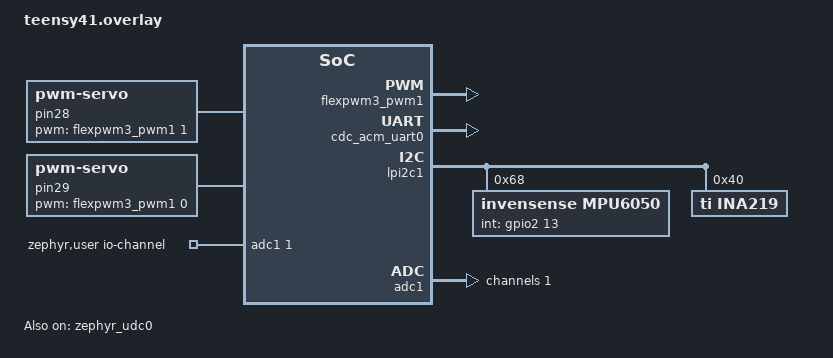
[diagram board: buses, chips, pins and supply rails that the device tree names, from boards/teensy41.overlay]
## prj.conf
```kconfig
CONFIG_PRINTK=y
CONFIG_HEAP_MEM_POOL_SIZE=256
CONFIG_ASSERT=y
CONFIG_GPIO=y

CONFIG_STDOUT_CONSOLE=y
CONFIG_PWM=y
CONFIG_ADC=y

## Sensor configs 
CONFIG_MPU6050=y
CONFIG_I2C=y
CONFIG_SENSOR=y
CONFIG_LOG=y

CONFIG_MPU6050_TRIGGER_NONE=y
CONFIG_CBPRINTF_FP_SUPPORT=y


CONFIG_USB_DEVICE_STACK=y
CONFIG_USB_DEVICE_PRODUCT="Zephyr USB console sample"
CONFIG_USB_DEVICE_PID=0x0004
CONFIG_USB_DEVICE_INITIALIZE_AT_BOOT=n

CONFIG_SERIAL=y
CONFIG_CONSOLE=y
CONFIG_UART_CONSOLE=y
CONFIG_NEWLIB_LIBC=y
```

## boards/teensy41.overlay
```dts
/ {
	pin28: pin28 {
		compatible = "pwm-servo";
		pwms = <&flexpwm3_pwm1 1 PWM_KHZ(20) PWM_POLARITY_NORMAL>;  
		min-pulse = <PWM_NSEC(0)>; /* Does not actually affect physical min/max. Max is set by the period in the pwms phandle. These are just inits for min/max vars */
		max-pulse = <PWM_KHZ(20)>;
	};

	pin29: pin29 {
		compatible = "pwm-servo";
		pwms = <&flexpwm3_pwm1 0 PWM_KHZ(20) PWM_POLARITY_NORMAL>;  
		min-pulse = <PWM_NSEC(0)>;
		max-pulse = <PWM_KHZ(20)>;
	};

	zephyr,user {
		/* adjust channel number according to pinmux in board.dts */
		io-channels = <&adc1 1>;
	};

    chosen {
	zephyr,console = &cdc_acm_uart0;
    };

};


&pinctrl{

        pinmux_flexpwm3: pinmux_flexpwm3 {
                group0 {
                        pinmux = <&iomuxc_gpio_emc_32_flexpwm3_pwmb1>, <&iomuxc_gpio_emc_31_flexpwm3_pwma1>;
                        drive-strength = "r0-4";
                        bias-pull-up;
                        bias-pull-up-value = "47k";
                        slew-rate = "slow";
                        nxp,speed = "100-mhz";
                };
        };

		pinmux_adc1: pinmux_adc1 {
                group0 {
                        pinmux = <&iomuxc_gpio_ad_b0_12_adc1_in1 >;
                        drive-strength = "r0-4";
                        bias-pull-up;
                        bias-pull-up-value = "47k";
                        slew-rate = "slow";
                        nxp,speed = "100-mhz";
                };
        };


};


&flexpwm3_pwm1 {
        status = "okay";
        pinctrl-0 = <&pinmux_flexpwm3>;
        pinctrl-names = "default";
};



&zephyr_udc0 {
	compatible = "nxp,mcux-usbd";
	status = "okay";
	cdc_acm_uart0: cdc_acm_uart0{
		compatible = "zephyr,cdc-acm-uart";
	};
};


&lpi2c1 {
	status = "okay";
	mpu6050@68 {
		compatible = "invensense,mpu6050";
		reg = <0x68>;
		status = "okay";
		int-gpios = <&gpio2 13 GPIO_ACTIVE_HIGH>;
	};

	ina219@40 {
		status = "okay";
		compatible = "ti,ina219";
		reg = <0x40>;
		brng = <1>;
		pg = <3>;
		sadc = <3>;
		badc = <3>;
		shunt-milliohm = <100>;
		lsb-microamp = <100>;
	};
};

&adc1 {
	#address-cells = <1>;
	#size-cells = <0>;
	status = "okay";
	pinctrl-0 = <&pinmux_adc1>;
	pinctrl-names = "default";
	channel@1 {
		reg = <1>;
		zephyr,gain = "ADC_GAIN_1";
		zephyr,reference = "ADC_REF_INTERNAL";
		zephyr,acquisition-time = <ADC_ACQ_TIME_DEFAULT>;
		zephyr,resolution = <12>;
	};
};
```

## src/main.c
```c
#include <zephyr/devicetree.h>
#include <zephyr/logging/log.h>
#include <zephyr/drivers/gpio.h>
#include <zephyr/sys/__assert.h>
#include <zephyr/drivers/pwm.h>
#include <zephyr/usb/usb_device.h>
#include <zephyr/usb/usbd.h>
#include <zephyr/drivers/adc.h>
#include <zephyr/sys/printk.h>
#include <math.h>
#include <string.h>
#include "mpu_6050.h"
#include "ina_219.h"
#include "data_profile.h"

#define STACKSIZE 1024
#define PRIORITY 7
#define INA_WINDOW 1000
#define IMU_WINDOW 1500
#define SPEED PWM_KHZ(20)   // Sets period to 3kHz with 100% duty cycle being 333,333 ns. 
#define WINDOW_SIZE 35

#define RPM 68
#define V_NOM 7.4
#define PI 3.14159265358979323846
#define KV  RPM/V_NOM
#define KV_SI  (KV * ((2*PI)/60))  // radians/second/volt
#define KT  (1/KV_SI)

#define DT_SPEC_AND_COMMA(node_id, prop, idx) \
	ADC_DT_SPEC_GET_BY_IDX(node_id, idx),

#if !DT_NODE_EXISTS(DT_PATH(zephyr_user)) || \
	!DT_NODE_HAS_PROP(DT_PATH(zephyr_user), io_channels)
#error "No suitable devicetree overlay specified"
#endif


float InaSamples[INA_WINDOW], ImuSamples[IMU_WINDOW], OutputCurrent[DATA_SAMPLES]; 

static const struct pwm_dt_spec pwm_28 = PWM_DT_SPEC_GET(DT_NODELABEL(pin28));
static uint32_t min_pulse_28 = DT_PROP(DT_NODELABEL(pin28), min_pulse);
// static uint32_t max_pulse_28 = DT_PROP(DT_NODELABEL(pin28), max_pulse);


static const struct pwm_dt_spec pwm_29 = PWM_DT_SPEC_GET(DT_NODELABEL(pin29));
static uint32_t min_pulse_29 = DT_PROP(DT_NODELABEL(pin29), min_pulse);
// static uint32_t max_pulse_29 = DT_PROP(DT_NODELABEL(pin29), max_pulse);


struct mpu_6050_data mpu_data;
struct ina_219_data ina_data;
const struct device *mpu_dev, *ina_dev;

volatile static float angle = 130.0;
volatile static float commanded_current = 0.0;
volatile static float accel_profile;

// static volatile float Kp = 0.010, Ki = 0.010; // Worked with 20 Kz PWM  
static volatile float Kp = 0.02, Ki = 0.018; // Worked with 20 Kz PWM with 0.005 scale worked with 08ms

static volatile float Kp_pos = 1.4, Ki_pos = 0.08, Kd_pos = 1.00;

unsigned int pwm_val;
int dir_flag = 1;
int data_count = 0;
static int counter = 0;
bool motion_detect = false;
int ret;
float torque_scale;
float max_imu_value = 0.0; float min_imu_value = 0.0;
int steps;


/* Data of ADC io-channels specified in devicetree. */
static const struct adc_dt_spec adc_channels[] = {
	DT_FOREACH_PROP_ELEM(DT_PATH(zephyr_user), io_channels,
			     DT_SPEC_AND_COMMA)
};

struct adc_sequence sequence;
uint16_t buf;
float filteredEncoderReading = 0.0;


// Define mutex for sensor readings
K_FIFO_DEFINE(printk_fifo);
K_SEM_DEFINE(start_sem, 0, 1);
K_MUTEX_DEFINE(mpu_sensor_mutex);
K_MUTEX_DEFINE(ina_sensor_mutex);
K_MUTEX_DEFINE(pot_adc_mutex);



float mean_val(float arr[], int len)
{
    float sum = 0.0, mean = 0.0;

    for(int i=0; i<len; ++i) {
        sum += arr[i];
    }

    mean = sum/len;
    return mean;
}

float max_val(float arr[], int len)
{
    float max = arr[0]; 

    for (int i = 1; i < len; i++) {
        if (arr[i] > max) {
            max = arr[i]; 
        }
    }
    return max;
}

float min_val(float arr[], int len)
{
    float min = arr[0]; 

    for (int i = 1; i < len; i++) {
        if (arr[i] <  min) {
            min = arr[i]; 
        }
    }
    return min;
}

float min_val_ranged(float arr[], int len, int start)
{
    float min = arr[start]; 

    for (int i = start; i < len; i++) {
        if (arr[i] <  min) {
            min = arr[i]; 
        }
    }
    return min;
}


int base_swing(void)
{
    ret = pwm_set_pulse_dt(&pwm_28,min_pulse_28);
    if (ret < 0) {
        printk("Error %d: failed to set pulse width for pin 28\n", ret);
    }

    k_msleep(700);

      ret = pwm_set_pulse_dt(&pwm_28, min_pulse_28);
    if (ret < 0) {
        printk("Error %d: failed to set pulse width for pin 28\n", ret);
    }

    k_msleep(50);


    ret = pwm_set_pulse_dt(&pwm_29,min_pulse_28);
    if (ret < 0) {
        printk("Error %d: failed to set pulse width for pin 28\n", ret);
    }

    k_msleep(700);


    ret = pwm_set_pulse_dt(&pwm_29, min_pulse_29);
    if (ret < 0) {
        printk("Error %d: failed to set pulse width for pin 28\n", ret);
    }

    k_msleep(50);

    return ret;
}

int controlled_swing(void)
{
    if(dir_flag == -1)
    {
        ret = pwm_set_pulse_dt(&pwm_28, min_pulse_28);
        if (ret < 0) {
            printk("Error %d: failed to set 0 pulse width for 28\n", ret);
        }

        k_msleep(50);
        
        ret = pwm_set_pulse_dt(&pwm_29, pwm_val);
        if (ret < 0) {
            printk("Error %d: failed to set pulse width for pin 29\n", ret);
        }

    }
    else if (dir_flag ==1)
    {
        ret = pwm_set_pulse_dt(&pwm_29, min_pulse_29);
        if (ret < 0) {
            printk("Error %d: failed to set 0 pulse width for 29\n", ret);
        }

        k_msleep(50);
        // /// 28 CLOCKWISE (+) CURRENT
        ret = pwm_set_pulse_dt(&pwm_28, pwm_val);
        if (ret < 0) {
            printk("Error %d: failed to set pulse width for pin 28\n", ret);
        }
    }
    else
    {
        ret = pwm_set_pulse_dt(&pwm_29, min_pulse_29);
        if (ret < 0) {
            printf("Error %d: failed to set pulse width\n", ret);
        }
        k_msleep(50);

        ret = pwm_set_pulse_dt(&pwm_28, min_pulse_28);
        if (ret < 0) {
            printf("Error %d: failed to set pulse width\n", ret);
        }
        k_msleep(50);
    }

    return ret;
}

const struct device * sensors_init(const char* sensor_compat)
{
    
    const struct device *dev;
    if (strcmp(sensor_compat, "mpu") == 0)
    {
        dev = DEVICE_DT_GET_ONE(MPU_COMPAT);
    }
    else if (strcmp(sensor_compat, "ina") == 0)
    {
        dev = DEVICE_DT_GET_ONE(INA_COMPAT);
    }

    if (dev != NULL)
    {
        printk("\nDevice found on Teensy DTS\n");
    }

    if (device_is_ready(dev))
    {
        printk("\nDevice %s is ready\n", dev->name);
    }
    else{
        printf("Device %s is not ready\n", dev->name);
    }

    return dev;
}

/// Thread Definitions

void mpu_sensor_read(void)
{
    const char *sensor_name = "mpu";
    mpu_dev = sensors_init(sensor_name);    
    float accel_mag, accel_x, accel_y, accel_z;
    float smooth_data = 0.0;
    float LPF_Beta = 0.010; // 0.010
    float prev,avg;
    float point_arr[3];

    k_sleep(K_SECONDS(5));
    while (1) { 
		int rc = process_mpu6050(mpu_dev, &mpu_data);
		
		if (rc != 0) {
			break;
		}

        k_mutex_lock(&mpu_sensor_mutex, K_FOREVER);
        accel_x = sensor_value_to_double(&mpu_data.accelerometer[0])- 0.6;
        accel_y = sensor_value_to_double(&mpu_data.accelerometer[1]) - 9.8;
        accel_z = sensor_value_to_double(&mpu_data.accelerometer[2]) + 2.0;
        accel_mag = sqrt(pow(accel_x,2) + pow(accel_y,2) + pow(accel_z,2));
        k_mutex_unlock(&mpu_sensor_mutex);

        if(data_count < IMU_WINDOW)
        {

            smooth_data = smooth_data - (LPF_Beta * (smooth_data - ((accel_mag))));
            ImuSamples[data_count] = smooth_data;
            data_count++;
            // printf("%f \n",smooth_data);
        
        }
        else if (data_count == IMU_WINDOW)
        {
            prev = ImuSamples[0];
            int direction = 1;
            int peak_freq = 0;
            int peak_loc = 0;
            steps = 0;
            max_imu_value = max_val(ImuSamples, IMU_WINDOW);
            min_imu_value = min_val_ranged(ImuSamples, IMU_WINDOW, 500);

            for(int i=1; i < IMU_WINDOW -1; i++)
            {
                if (ImuSamples[i] < prev && direction == 1)
                {
                    if ((i -peak_loc) > 50)
                    {
                        point_arr[0] = ImuSamples[i-1];    
                        point_arr[1] = ImuSamples[i];
                        point_arr[2] = ImuSamples[i+1];
                        avg = mean_val(point_arr, 3);
                        if (avg > 0.9*max_imu_value)
                        {
                            steps++;
                            peak_loc = i;
                        }
                    }
                    direction = 0;
                }
                else if (ImuSamples[i] > prev && direction == 0)
                {
                    direction = 1;
                }
                prev = ImuSamples[i];
            }
            data_count = 0;
        }

		k_sleep(K_MSEC(1)); 
	}
}

void ina_sensor_read(void)
{
    // Runs at 200 Hz
    const char *sensor_name = "ina";
    ina_dev = sensors_init(sensor_name);

    while (1) { 

		int rc = process_ina219(ina_dev, &ina_data);
		
		if (rc != 0) {
			break;
		}

	}
}



void motor_control(void)
{
	int ret;
    float output_torque;
	if (!device_is_ready(pwm_28.dev)) {
		printf("Error: PWM device %s is not ready\n", pwm_28.dev->name);
	}

	if (!device_is_ready(pwm_28.dev)) {
		printf("Error: PWM device %s is not ready\n", pwm_29.dev->name);
	}

	ret = pwm_set_pulse_dt(&pwm_29, min_pulse_29);
	if (ret < 0) {
		printf("Error %d: failed to set pulse width\n", ret);
	}

	ret = pwm_set_pulse_dt(&pwm_28, min_pulse_28);
	if (ret < 0) {
		printf("Error %d: failed to set pulse width\n", ret);
	}
    
    int res;
	while (1) {

        if (! motion_detect)
        {
            res = base_swing();
            if (res < 0.0)
            {
                break;
            }
        }

        else
        {
            res = controlled_swing();
             if (res < 0.0)
            {
                break;
            }
        }
      
        k_sleep(K_MSEC(1));  
    }
}



void read_pot_adc(void)
{
    int err;
	uint32_t count = 0;

    sequence.buffer = &buf;
    sequence.buffer_size = sizeof(buf);
    

    float rawBuffer[WINDOW_SIZE] = {0}; 
    int currentIndex = 0; 

    k_sleep(K_SECONDS(4));

	for (size_t i = 0U; i < ARRAY_SIZE(adc_channels); i++) {
		if (!device_is_ready(adc_channels[i].dev)) {
			printk("ADC controller device %s not ready\n",adc_channels[i].dev->name);
		}

		err = adc_channel_setup_dt(&adc_channels[i]);
		if (err < 0) {
			printk("Could not setup channel #%d (%d)\n", i, err);
		}
	}

	while (1) {

        (void)adc_sequence_init_dt(&adc_channels[0], &sequence);

        k_mutex_lock(&pot_adc_mutex, K_FOREVER);

        err = adc_read(adc_channels[0].dev, &sequence);
        if (err < 0) {
            printk("Could not read (%d)\n", err);
            continue;
        }
        k_mutex_unlock(&pot_adc_mutex);
  
       float sum = 0;

        rawBuffer[currentIndex] = buf;
        currentIndex = (currentIndex + 1) % WINDOW_SIZE;

        for (int i = 0; i < WINDOW_SIZE; ++i) {
            sum += rawBuffer[i];
        }

        filteredEncoderReading = sum / WINDOW_SIZE;

		k_sleep(K_MSEC(1));
	}
}

void current_control(void)
{
    static volatile float eint = 0;
    float int_control = 0;
    float output_torque, input_torque;

    k_sleep(K_SECONDS(5));
    while(1)
    {
       if(counter == 1)
       {
            pwm_val = 0.0;
            break;
       }

        float ref_current = commanded_current * 1000.0;

        k_mutex_lock(&ina_sensor_mutex, K_FOREVER);
        float adcval = sensor_value_to_double(&ina_data.current) * 1000.0;
        k_mutex_unlock(&ina_sensor_mutex);

        k_mutex_lock(&pot_adc_mutex, K_FOREVER);

        float encoder = filteredEncoderReading; // get the encoder value

        float actual_angle = encoder * (180.0/4095.0);

        k_mutex_unlock(&pot_adc_mutex);

        float error = (ref_current - adcval);

        eint = eint + error;
        int_control = Ki*eint;

        if(int_control > 10.0)
        {
            int_control = 10.0;
        }
        else if (int_control < -10.0)
        {
            int_control = -10.0;
        }
        

        float u = Kp*error + int_control;

        if (accel_profile > 0.0)
        {
            dir_flag = 1;
        }
        else
        {
            dir_flag = -1;
            torque_scale*=-1;
        }

        u = u  + torque_scale;

        if (u > 100.0)
        {
          u = 100.0;
        }
        if (u < -100.0)
        {
          u = -100.0;
        }

        if (u >= 0.0) {
            pwm_val = (u/100* SPEED);

        } else {
            pwm_val = (-u/100 * SPEED);
        }

        // printk("%f %f\n", accel_profile, actual_angle);  

        k_sleep(K_MSEC(1));  
    }
}

void position_control(void)
{
    static volatile float eint_pos = 0.0;
    static volatile float ed_pos = 0.0;
    static volatile float eprevious_pos = 0.0; 


    while(1)
    {
        k_mutex_lock(&pot_adc_mutex, K_FOREVER);

        float encoder = filteredEncoderReading; 

        float actual_angle = encoder * (220.0/4095.0);

        k_mutex_unlock(&pot_adc_mutex);

        float pos_error = (angle - actual_angle);
        
        eint_pos = eint_pos + pos_error;

        if (eint_pos > 500)
        {
            eint_pos = 500;
        }
        if(eint_pos < -500)
        {
            eint_pos = -500;
        }

        float pwm_pos_i = Ki_pos*eint_pos;



        ed_pos = (pos_error - eprevious_pos) / 0.005;
        
        float u = Kp_pos*pos_error + pwm_pos_i + Kd_pos*ed_pos; 

        commanded_current = u;
        eprevious_pos = pos_error;

        
        k_sleep(K_MSEC(5));
    }
}

void torque_profile_signals(void)
{
    k_sleep(K_SECONDS(5));
    float max_torque;
    float torque;

    while(1)
    {
        if ((max_imu_value - min_imu_value) > 0.2)
        {
            motion_detect = true;
            for(int i=0; i < DATA_SAMPLES-2; i++)
            {
                if ((max_imu_value - min_imu_value) < 0.2)
                {
                    motion_detect =false;
                    break;
                }
                torque_scale = 0.0;
                
                
                if(steps > 1)
                {
                    torque = Torque_Profile_05[i];
                    accel_profile = Accel_Profile_05[i];

                }
                else if (steps > 9 && steps < 20)
                {
                    torque = Torque_Profile_08[i];
                    accel_profile = Accel_Profile_08[i];

                    max_torque = min_val(Torque_Profile_08, DATA_SAMPLES);
                    torque_scale = (max_torque * 0.005)*1000.0;
                }
                commanded_current = torque / KT;
                // printk("%f\n", torque)
                k_sleep(K_MSEC(10));
            }
        }
        else
        {
            // printk("MOTION NOT DETECTED\n");
            motion_detect = false;
        }
        k_sleep(K_MSEC(10));
    }
}


K_THREAD_DEFINE(motor_id, STACKSIZE, motor_control, NULL, NULL, NULL,
PRIORITY, 0, 0);

K_THREAD_DEFINE(ina219_id, STACKSIZE, ina_sensor_read, NULL, NULL, NULL,
PRIORITY, 0, 0);

K_THREAD_DEFINE(mpu6050_id, STACKSIZE, mpu_sensor_read, NULL, NULL, NULL,
PRIORITY, 0, 0);


K_THREAD_DEFINE(pot_id, STACKSIZE, read_pot_adc, NULL, NULL, NULL,
PRIORITY, 0, 0);

// // K_THREAD_DEFINE(pos_control_id, STACKSIZE, position_control, NULL, NULL, NULL,
// // PRIORITY, 0, 0);

K_THREAD_DEFINE(current_control_id, STACKSIZE, current_control, NULL, NULL, NULL,
PRIORITY, 0, 0);

K_THREAD_DEFINE(torque_profile, STACKSIZE, torque_profile_signals, NULL, NULL, NULL,
PRIORITY, 0, 0);


int main(void)
{
    usb_enable(NULL);
    return 0;
}
```

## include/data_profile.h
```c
#ifndef DATA_PROF_
#define DATA_PROF_

#define DATA_SAMPLES 3998
extern float Torque_Profile_05[DATA_SAMPLES], Torque_Profile_08[DATA_SAMPLES], Torque_Profile_10[DATA_SAMPLES],Torque_Profile_12[DATA_SAMPLES];

extern float Accel_Profile_05[DATA_SAMPLES-2], Accel_Profile_08[DATA_SAMPLES-2], Accel_Profile_10[DATA_SAMPLES-2], Accel_Profile_12[DATA_SAMPLES-2];

#endif // DATA_PROF_
```

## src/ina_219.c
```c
#include "ina_219.h"

int process_ina219(const struct device *dev, struct ina_219_data *ina_sensor_data)
{
    int rc = sensor_sample_fetch(dev);
    if (rc) {
        printf("\nCould not fetch sensor data.\n");
        return rc;
    }

    extern struct k_mutex ina_sensor_mutex; 

    k_mutex_lock(&ina_sensor_mutex, K_FOREVER);

    sensor_channel_get(dev, SENSOR_CHAN_CURRENT, &ina_sensor_data->current);

    k_mutex_unlock(&ina_sensor_mutex);

    return rc;
}
```

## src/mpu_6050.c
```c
#include "mpu_6050.h"

const char *now_str(void)
{
	static char buf[16]; /* ...HH:MM:SS.MMM */
	uint32_t now = k_uptime_get_32();
	unsigned int ms = now % MSEC_PER_SEC;
	unsigned int s;
	unsigned int min;
	unsigned int h;

	now /= MSEC_PER_SEC;
	s = now % 60U;
	now /= 60U;
	min = now % 60U;
	now /= 60U;
	h = now;

	snprintf(buf, sizeof(buf), "%u:%02u:%02u.%03u",
		 h, min, s, ms);
	return buf;
}

int process_mpu6050(const struct device *dev, struct mpu_6050_data *mpu_sensor_data)
{

	int rc = sensor_sample_fetch(dev);

    extern struct k_mutex mpu_sensor_mutex; 

    k_mutex_lock(&mpu_sensor_mutex, K_FOREVER);


    if (rc == 0) {
		rc = sensor_channel_get(dev, SENSOR_CHAN_ACCEL_XYZ,
					mpu_sensor_data->accelerometer);
	}
	if (rc == 0) {
		rc = sensor_channel_get(dev, SENSOR_CHAN_GYRO_XYZ,
					mpu_sensor_data->gyro);
	}

    k_mutex_unlock(&mpu_sensor_mutex);


	if (rc == 0) {
	} else {
		printk("sample fetch/get failed: %d\n", rc);
	}

	return rc;
}
```
